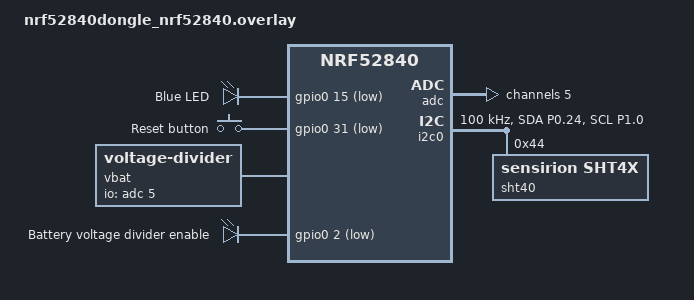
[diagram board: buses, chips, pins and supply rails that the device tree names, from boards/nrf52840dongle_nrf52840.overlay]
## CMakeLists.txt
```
# SPDX-License-Identifier: MIT

cmake_minimum_required(VERSION 3.20.0)
find_package(Zephyr REQUIRED HINTS $ENV{ZEPHYR_BASE})
project(frostbee_uf2)

target_sources(app PRIVATE src/main.c)
```

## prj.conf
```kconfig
# Frostbee UF2 Battlefield App
# Goal: stable sensor/config/button behavior with USB logs + incremental Zigbee SED hardening.
#
# Build:
#   west build -b nrf52840dongle/nrf52840 app_uf2 --build-dir app_uf2/build
#
# NOTE:
# This app is meant for the restored Adafruit UF2 bootloader flow.
# 0x26000 is the common nRF52 UF2 application start address.
# If your bootloader uses a different app address, adjust this offset.

# Core drivers
CONFIG_I2C=y
CONFIG_PINCTRL=y
CONFIG_SENSOR=y
CONFIG_GPIO=y
CONFIG_ADC=y

# Logging / console over USB CDC ACM
CONFIG_LOG=y
CONFIG_LOG_DEFAULT_LEVEL=3
CONFIG_SERIAL=y
CONFIG_CONSOLE=y
CONFIG_UART_CONSOLE=y
CONFIG_USB_DEVICE_STACK=y
CONFIG_USB_CDC_ACM=y
CONFIG_UART_LINE_CTRL=y
CONFIG_KERNEL_LOG_LEVEL_WRN=y
CONFIG_USB_DRIVER_LOG_LEVEL_ERR=y
CONFIG_NRF_USBD_COMMON_LOG_LEVEL_ERR=y
CONFIG_USBC_LOG_LEVEL_ERR=y

# Keep stack conservative for heavy logging, Zigbee, and sensor work
CONFIG_MAIN_STACK_SIZE=4096
CONFIG_SYSTEM_WORKQUEUE_STACK_SIZE=2048
CONFIG_HEAP_MEM_POOL_SIZE=4096

# Zigbee SED core (Phase 2A, no OTA)
CONFIG_ZIGBEE_ADD_ON=y
CONFIG_ZIGBEE_APP_UTILS=y
CONFIG_ZIGBEE_ROLE_END_DEVICE=y
CONFIG_ZIGBEE_CHANNEL_SELECTION_MODE_MULTI=y

# Keep IPv6/UDP stack disabled, Zigbee only
CONFIG_NET_IPV6=n
CONFIG_NET_UDP=n

# Explicit no-OTA profile in UF2 battlefield app
CONFIG_BOOTLOADER_MCUBOOT=n
CONFIG_ZIGBEE_FOTA=n

# UF2-bootloader application region (common Adafruit nRF52 layout)
CONFIG_BUILD_OUTPUT_UF2=y
CONFIG_FLASH_LOAD_OFFSET=0x26000
```

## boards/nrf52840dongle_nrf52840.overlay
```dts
/ {
	leds {
		compatible = "gpio-leds";
		led0_blue: led_0 {
			gpios = <&gpio0 15 GPIO_ACTIVE_LOW>;
			label = "Blue LED";
		};
	};

	buttons {
		compatible = "gpio-keys";
		reset_button: button_0 {
			gpios = <&gpio0 31 (GPIO_PULL_UP | GPIO_ACTIVE_LOW)>;
			label = "Reset button";
		};
	};

	aliases {
		led0 = &led0_blue;
		sw0 = &reset_button;
	};

	/* Battery voltage divider control */
	vbat {
		compatible = "voltage-divider";
		io-channels = <&adc 5>;  /* P0.29 = AIN5 */
		output-ohms = <10000>;   /* R2 = 10k */
		full-ohms = <20000>;     /* R1 + R2 = 20k */
	};

	vbat_enable {
		compatible = "gpio-leds";
		vbat_en: vbat_enable_pin {
			gpios = <&gpio0 2 GPIO_ACTIVE_LOW>;  /* P0.02, active LOW = GND */
			label = "Battery voltage divider enable";
		};
	};
};

/* ADC for battery voltage measurement on P0.29 (AIN5) */
&adc {
	status = "okay";
	#address-cells = <1>;
	#size-cells = <0>;

	channel@5 {
		reg = <5>;
		zephyr,gain = "ADC_GAIN_1_6";
		zephyr,reference = "ADC_REF_INTERNAL";
		zephyr,acquisition-time = <ADC_ACQ_TIME_DEFAULT>;
		zephyr,input-positive = <NRF_SAADC_AIN5>;
		zephyr,resolution = <12>;
	};
};

/* I2C bus for SHT40: SDA = P0.24, SCL = P1.00 */
&i2c0 {
	compatible = "nordic,nrf-twim";
	status = "okay";
	pinctrl-0 = <&i2c0_default>;
	pinctrl-1 = <&i2c0_sleep>;
	pinctrl-names = "default", "sleep";
	clock-frequency = <I2C_BITRATE_STANDARD>;

	sht40: sht4x@44 {
		compatible = "sensirion,sht4x";
		reg = <0x44>;
		repeatability = <2>;
	};
};

&pinctrl {
	i2c0_default: i2c0_default {
		group1 {
			psels = <NRF_PSEL(TWIM_SDA, 0, 24)>,
				<NRF_PSEL(TWIM_SCL, 1, 0)>;
		};
	};

	i2c0_sleep: i2c0_sleep {
		group1 {
			psels = <NRF_PSEL(TWIM_SDA, 0, 24)>,
				<NRF_PSEL(TWIM_SCL, 1, 0)>;
			low-power-enable;
		};
	};
};
```

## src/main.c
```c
/*
 * Frostbee UF2 battlefield app
 *
 * Purpose:
 * - Keep UF2 fast iteration workflow
 * - Add minimal Zigbee SED core (no OTA)
 * - Keep USB logs explicit for join/rejoin/sleep/reporting behavior
 *
 * SPDX-License-Identifier: MIT
 */

#include <stdlib.h>
#include <errno.h>
#include <zephyr/device.h>
#include <zephyr/drivers/adc.h>
#include <zephyr/drivers/gpio.h>
#include <zephyr/drivers/sensor.h>
#include <zephyr/drivers/uart.h>
#include <zephyr/kernel.h>
#include <zephyr/logging/log.h>
#include <zephyr/usb/usb_device.h>

#include <zboss_api.h>
#include <zboss_api_addons.h>
#include <zigbee/zigbee_app_utils.h>
#include <zigbee/zigbee_error_handler.h>
#include <zb_nrf_platform.h>

LOG_MODULE_REGISTER(frostbee_uf2, LOG_LEVEL_DBG);

/* Zigbee + reporting */
#define FROSTBEE_ENDPOINT      1
#define REPORT_INTERVAL_S      15
#define SED_KEEPALIVE_MS       3000

/* Button timing */
#define BUTTON_DEBOUNCE_MS         100
#define BUTTON_SHORT_PRESS_MAX_MS  1000
#define BUTTON_FACTORY_RESET_MS    5000

/* ADC configuration for P0.29 (AIN5) */
#define ADC_NODE        DT_NODELABEL(adc)
#define ADC_CHANNEL_ID  5
#define ADC_RESOLUTION  12
#define ADC_VREF_MV     600
#define ADC_GAIN_FACTOR 6
#define VDIV_FACTOR     2

/* Temperature measurement range: -40.00 C to +125.00 C (SHT40 spec) */
#define FROSTBEE_TEMP_MIN_VALUE  (-4000)
#define FROSTBEE_TEMP_MAX_VALUE  12500

/* Humidity measurement range: 0.00% to 100.00% */
#define FROSTBEE_HUM_MIN_VALUE   0
#define FROSTBEE_HUM_MAX_VALUE   10000

#define RESET_BUTTON_NODE DT_ALIAS(sw0)

/* Reportable attributes: temperature + humidity + battery voltage + battery percentage */
#define FROSTBEE_REPORT_ATTR_COUNT     \
	(ZB_ZCL_TEMP_MEASUREMENT_REPORT_ATTR_COUNT + \
	 ZB_ZCL_REL_HUMIDITY_MEASUREMENT_REPORT_ATTR_COUNT + \
	 2)

struct zb_device_ctx {
	zb_zcl_basic_attrs_ext_t basic_attr;
	zb_zcl_identify_attrs_t identify_attr;
	zb_uint8_t battery_voltage;
	zb_uint8_t battery_percentage;
	zb_int16_t temp_measure_value;
	zb_int16_t temp_min_value;
	zb_int16_t temp_max_value;
	zb_uint16_t temp_tolerance;
	zb_uint16_t hum_measure_value;
	zb_uint16_t hum_min_value;
	zb_uint16_t hum_max_value;
};

static struct zb_device_ctx dev_ctx;

static const struct device *sht = DEVICE_DT_GET(DT_NODELABEL(sht40));
static const struct device *adc_dev = DEVICE_DT_GET(ADC_NODE);
static const struct gpio_dt_spec vbat_enable = GPIO_DT_SPEC_GET(DT_NODELABEL(vbat_en), gpios);

#if DT_NODE_EXISTS(RESET_BUTTON_NODE)
static const struct gpio_dt_spec reset_button = GPIO_DT_SPEC_GET(RESET_BUTTON_NODE, gpios);
static struct gpio_callback button_cb_data;
static struct k_work_delayable debounce_work;
static struct k_work_delayable long_press_work;
static int64_t button_press_time;
static bool button_pressed_state;
static atomic_t long_press_handled;
#endif

static K_MUTEX_DEFINE(sensor_mutex);
static bool zigbee_network_ready;
static uint32_t forced_reports_requested;
static uint32_t forced_reports_attempted;
static uint32_t forced_reports_completed;
static uint32_t forced_reports_failed;

static struct adc_channel_cfg adc_cfg = {
	.gain = ADC_GAIN_1_6,
	.reference = ADC_REF_INTERNAL,
	.acquisition_time = ADC_ACQ_TIME_DEFAULT,
	.channel_id = ADC_CHANNEL_ID,
	.input_positive = SAADC_CH_PSELP_PSELP_AnalogInput5,
};

static int16_t adc_sample_buffer;
static struct adc_sequence adc_seq = {
	.channels = BIT(ADC_CHANNEL_ID),
	.buffer = &adc_sample_buffer,
	.buffer_size = sizeof(adc_sample_buffer),
	.resolution = ADC_RESOLUTION,
};

ZB_ZCL_DECLARE_BASIC_ATTRIB_LIST_EXT(
	basic_attr_list,
	&dev_ctx.basic_attr.zcl_version,
	&dev_ctx.basic_attr.app_version,
	&dev_ctx.basic_attr.stack_version,
	&dev_ctx.basic_attr.hw_version,
	dev_ctx.basic_attr.mf_name,
	dev_ctx.basic_attr.model_id,
	dev_ctx.basic_attr.date_code,
	&dev_ctx.basic_attr.power_source,
	dev_ctx.basic_attr.location_id,
	&dev_ctx.basic_attr.ph_env,
	dev_ctx.basic_attr.sw_ver);

ZB_ZCL_DECLARE_IDENTIFY_CLIENT_ATTRIB_LIST(identify_client_attr_list);
ZB_ZCL_DECLARE_IDENTIFY_SERVER_ATTRIB_LIST(identify_server_attr_list, &dev_ctx.identify_attr.identify_time);

static zb_zcl_attr_t power_config_attr_list[] = {
	{
		ZB_ZCL_ATTR_POWER_CONFIG_BATTERY_VOLTAGE_ID,
		ZB_ZCL_ATTR_TYPE_U8,
		ZB_ZCL_ATTR_ACCESS_READ_ONLY | ZB_ZCL_ATTR_ACCESS_REPORTING,
		ZB_ZCL_NON_MANUFACTURER_SPECIFIC,
		(void *)&dev_ctx.battery_voltage
	},
	{
		ZB_ZCL_ATTR_POWER_CONFIG_BATTERY_PERCENTAGE_REMAINING_ID,
		ZB_ZCL_ATTR_TYPE_U8,
		ZB_ZCL_ATTR_ACCESS_READ_ONLY | ZB_ZCL_ATTR_ACCESS_REPORTING,
		ZB_ZCL_NON_MANUFACTURER_SPECIFIC,
		(void *)&dev_ctx.battery_percentage
	},
	{
		ZB_ZCL_NULL_ID,
		0,
		0,
		ZB_ZCL_NON_MANUFACTURER_SPECIFIC,
		NULL
	}
};

ZB_ZCL_DECLARE_TEMP_MEASUREMENT_ATTRIB_LIST(
	temp_measurement_attr_list,
	&dev_ctx.temp_measure_value,
	&dev_ctx.temp_min_value,
	&dev_ctx.temp_max_value,
	&dev_ctx.temp_tolerance);

ZB_ZCL_DECLARE_REL_HUMIDITY_MEASUREMENT_ATTRIB_LIST(
	humidity_attr_list,
	&dev_ctx.hum_measure_value,
	&dev_ctx.hum_min_value,
	&dev_ctx.hum_max_value);

static zb_zcl_cluster_desc_t frostbee_clusters[] = {
	ZB_ZCL_CLUSTER_DESC(
		ZB_ZCL_CLUSTER_ID_BASIC,
		ZB_ZCL_ARRAY_SIZE(basic_attr_list, zb_zcl_attr_t),
		basic_attr_list,
		ZB_ZCL_CLUSTER_SERVER_ROLE,
		ZB_ZCL_MANUF_CODE_INVALID),
	ZB_ZCL_CLUSTER_DESC(
		ZB_ZCL_CLUSTER_ID_IDENTIFY,
		ZB_ZCL_ARRAY_SIZE(identify_server_attr_list, zb_zcl_attr_t),
		identify_server_attr_list,
		ZB_ZCL_CLUSTER_SERVER_ROLE,
		ZB_ZCL_MANUF_CODE_INVALID),
	ZB_ZCL_CLUSTER_DESC(
		ZB_ZCL_CLUSTER_ID_POWER_CONFIG,
		ZB_ZCL_ARRAY_SIZE(power_config_attr_list, zb_zcl_attr_t),
		power_config_attr_list,
		ZB_ZCL_CLUSTER_SERVER_ROLE,
		ZB_ZCL_MANUF_CODE_INVALID),
	ZB_ZCL_CLUSTER_DESC(
		ZB_ZCL_CLUSTER_ID_TEMP_MEASUREMENT,
		ZB_ZCL_ARRAY_SIZE(temp_measurement_attr_list, zb_zcl_attr_t),
		temp_measurement_attr_list,
		ZB_ZCL_CLUSTER_SERVER_ROLE,
		ZB_ZCL_MANUF_CODE_INVALID),
	ZB_ZCL_CLUSTER_DESC(
		ZB_ZCL_CLUSTER_ID_REL_HUMIDITY_MEASUREMENT,
		ZB_ZCL_ARRAY_SIZE(humidity_attr_list, zb_zcl_attr_t),
		humidity_attr_list,
		ZB_ZCL_CLUSTER_SERVER_ROLE,
		ZB_ZCL_MANUF_CODE_INVALID),
	ZB_ZCL_CLUSTER_DESC(
		ZB_ZCL_CLUSTER_ID_IDENTIFY,
		ZB_ZCL_ARRAY_SIZE(identify_client_attr_list, zb_zcl_attr_t),
		identify_client_attr_list,
		ZB_ZCL_CLUSTER_CLIENT_ROLE,
		ZB_ZCL_MANUF_CODE_INVALID),
};

ZB_DECLARE_SIMPLE_DESC(5, 1);
ZB_AF_SIMPLE_DESC_TYPE(5, 1) simple_desc_frostbee_ep = {
	FROSTBEE_ENDPOINT,
	ZB_AF_HA_PROFILE_ID,
	ZB_HA_TEMPERATURE_SENSOR_DEVICE_ID,
	0,
	0,
	5,
	1,
	{
		ZB_ZCL_CLUSTER_ID_BASIC,
		ZB_ZCL_CLUSTER_ID_IDENTIFY,
		ZB_ZCL_CLUSTER_ID_POWER_CONFIG,
		ZB_ZCL_CLUSTER_ID_TEMP_MEASUREMENT,
		ZB_ZCL_CLUSTER_ID_REL_HUMIDITY_MEASUREMENT,
		ZB_ZCL_CLUSTER_ID_IDENTIFY,
	}
};

ZBOSS_DEVICE_DECLARE_REPORTING_CTX(reporting_info_frostbee, FROSTBEE_REPORT_ATTR_COUNT);
ZB_AF_DECLARE_ENDPOINT_DESC(
	frostbee_ep,
	FROSTBEE_ENDPOINT,
	ZB_AF_HA_PROFILE_ID,
	0,
	NULL,
	ZB_ZCL_ARRAY_SIZE(frostbee_clusters, zb_zcl_cluster_desc_t),
	frostbee_clusters,
	(zb_af_simple_desc_1_1_t *)&simple_desc_frostbee_ep,
	FROSTBEE_REPORT_ATTR_COUNT,
	reporting_info_frostbee,
	0,
	NULL);

ZBOSS_DECLARE_DEVICE_CTX_1_EP(frostbee_ctx, frostbee_ep);

static int compare_int16(const void *a, const void *b)
{
	return (*(int16_t *)a - *(int16_t *)b);
}

static void log_fixed2(const char *label, int32_t value)
{
	int32_t abs_value = value < 0 ? -value : value;
	LOG_INF("%s: %s%d.%02d", label, value < 0 ? "-" : "", abs_value / 100, abs_value % 100);
}

static void clusters_attr_init(void)
{
	dev_ctx.basic_attr.zcl_version = ZB_ZCL_VERSION;
	dev_ctx.basic_attr.app_version = 1;
	dev_ctx.basic_attr.stack_version = 1;
	dev_ctx.basic_attr.hw_version = 1;
	ZB_ZCL_SET_STRING_VAL(dev_ctx.basic_attr.mf_name, "Frostbee", 8);
	ZB_ZCL_SET_STRING_VAL(dev_ctx.basic_attr.model_id, "FBE_UF2", 7);
	ZB_ZCL_SET_STRING_VAL(dev_ctx.basic_attr.date_code, "20260304", 8);
	ZB_ZCL_SET_STRING_VAL(dev_ctx.basic_attr.sw_ver, "uf2-zb0", 7);
	ZB_ZCL_SET_STRING_VAL(dev_ctx.basic_attr.location_id, "", 0);
	dev_ctx.basic_attr.power_source = ZB_ZCL_BASIC_POWER_SOURCE_BATTERY;
	dev_ctx.basic_attr.ph_env = ZB_ZCL_BASIC_ENV_UNSPECIFIED;

	dev_ctx.identify_attr.identify_time = ZB_ZCL_IDENTIFY_IDENTIFY_TIME_DEFAULT_VALUE;

	dev_ctx.battery_voltage = 45;
	dev_ctx.battery_percentage = 200;
	dev_ctx.temp_measure_value = ZB_ZCL_ATTR_TEMP_MEASUREMENT_VALUE_UNKNOWN;
	dev_ctx.temp_min_value = FROSTBEE_TEMP_MIN_VALUE;
	dev_ctx.temp_max_value = FROSTBEE_TEMP_MAX_VALUE;
	dev_ctx.temp_tolerance = 20;
	dev_ctx.hum_measure_value = ZB_ZCL_ATTR_REL_HUMIDITY_MEASUREMENT_VALUE_UNKNOWN;
	dev_ctx.hum_min_value = FROSTBEE_HUM_MIN_VALUE;
	dev_ctx.hum_max_value = FROSTBEE_HUM_MAX_VALUE;
}

static int read_sensor_once(zb_int16_t *temp_centi, zb_uint16_t *hum_centi)
{
	struct sensor_value temp;
	struct sensor_value hum;
	int ret;
	int64_t temp_micro;
	int64_t hum_micro;

	if (!device_is_ready(sht)) {
		return -ENODEV;
	}

	ret = sensor_sample_fetch(sht);
	if (ret < 0) {
		return ret;
	}

	ret = sensor_channel_get(sht, SENSOR_CHAN_AMBIENT_TEMP, &temp);
	if (ret < 0) {
		return ret;
	}

	ret = sensor_channel_get(sht, SENSOR_CHAN_HUMIDITY, &hum);
	if (ret < 0) {
		return ret;
	}

	temp_micro = (int64_t)temp.val1 * 1000000LL + temp.val2;
	hum_micro = (int64_t)hum.val1 * 1000000LL + hum.val2;
	*temp_centi = (zb_int16_t)(temp_micro / 10000);
	*hum_centi = (zb_uint16_t)(hum_micro / 10000);

	log_fixed2("Temperature [C]", *temp_centi);
	log_fixed2("Humidity [%]", *hum_centi);
	return 0;
}

static int read_battery_once(zb_uint8_t *battery_zcl, zb_uint8_t *battery_pct_zcl)
{
	int ret;
	int16_t samples[5];
	int32_t adc_mv;
	int32_t battery_mv;
	int32_t percentage_raw;

	if (!device_is_ready(adc_dev)) {
		return -ENODEV;
	}

	ret = gpio_pin_configure_dt(&vbat_enable, GPIO_OUTPUT_ACTIVE);
	if (ret < 0) {
		return ret;
	}

	k_msleep(2);

	for (int i = 0; i < 5; i++) {
		ret = adc_read(adc_dev, &adc_seq);
		if (ret < 0) {
			gpio_pin_configure_dt(&vbat_enable, GPIO_INPUT);
			return ret;
		}

		samples[i] = adc_sample_buffer;
		if (i < 4) {
			k_usleep(500);
		}
	}

	gpio_pin_configure_dt(&vbat_enable, GPIO_INPUT);

	qsort(samples, 5, sizeof(int16_t), compare_int16);

	adc_mv = ((int32_t)(samples[1] + samples[2] + samples[3]) / 3);
	adc_mv = (adc_mv * ADC_VREF_MV * ADC_GAIN_FACTOR) / 4095;
	battery_mv = adc_mv * VDIV_FACTOR;
	*battery_zcl = (zb_uint8_t)((battery_mv + 50) / 100);

	percentage_raw = ((battery_mv - 3000) * 200) / 1500;
	if (percentage_raw < 0) {
		percentage_raw = 0;
	}
	if (percentage_raw > 200) {
		percentage_raw = 200;
	}
	*battery_pct_zcl = (zb_uint8_t)percentage_raw;

	LOG_INF("Battery: %d mV (ZCL=%u), %u%% (ZCL=%u)",
		battery_mv, *battery_zcl, *battery_pct_zcl / 2, *battery_pct_zcl);

	return 0;
}

static void measurement_update(zb_bool_t force_report)
{
	zb_int16_t temp_centi;
	zb_uint16_t hum_centi;
	zb_uint8_t battery_zcl;
	zb_uint8_t battery_pct_zcl;
	int ret;

	if (force_report) {
		forced_reports_attempted++;
	}

	k_mutex_lock(&sensor_mutex, K_FOREVER);

	ret = read_sensor_once(&temp_centi, &hum_centi);
	if (ret < 0) {
		LOG_ERR("Sensor read failed: %d", ret);
		if (force_report) {
			forced_reports_failed++;
		}
		k_mutex_unlock(&sensor_mutex);
		return;
	}

	ret = read_battery_once(&battery_zcl, &battery_pct_zcl);
	if (ret < 0) {
		LOG_ERR("Battery read failed: %d", ret);
		if (force_report) {
			forced_reports_failed++;
		}
		k_mutex_unlock(&sensor_mutex);
		return;
	}

	dev_ctx.temp_measure_value = temp_centi;
	dev_ctx.hum_measure_value = hum_centi;
	dev_ctx.battery_voltage = battery_zcl;
	dev_ctx.battery_percentage = battery_pct_zcl;

	ZB_ZCL_SET_ATTRIBUTE(
		FROSTBEE_ENDPOINT,
		ZB_ZCL_CLUSTER_ID_TEMP_MEASUREMENT,
		ZB_ZCL_CLUSTER_SERVER_ROLE,
		ZB_ZCL_ATTR_TEMP_MEASUREMENT_VALUE_ID,
		(zb_uint8_t *)&dev_ctx.temp_measure_value,
		force_report);

	ZB_ZCL_SET_ATTRIBUTE(
		FROSTBEE_ENDPOINT,
		ZB_ZCL_CLUSTER_ID_REL_HUMIDITY_MEASUREMENT,
		ZB_ZCL_CLUSTER_SERVER_ROLE,
		ZB_ZCL_ATTR_REL_HUMIDITY_MEASUREMENT_VALUE_ID,
		(zb_uint8_t *)&dev_ctx.hum_measure_value,
		force_report);

	ZB_ZCL_SET_ATTRIBUTE(
		FROSTBEE_ENDPOINT,
		ZB_ZCL_CLUSTER_ID_POWER_CONFIG,
		ZB_ZCL_CLUSTER_SERVER_ROLE,
		ZB_ZCL_ATTR_POWER_CONFIG_BATTERY_VOLTAGE_ID,
		(zb_uint8_t *)&dev_ctx.battery_voltage,
		force_report);

	ZB_ZCL_SET_ATTRIBUTE(
		FROSTBEE_ENDPOINT,
		ZB_ZCL_CLUSTER_ID_POWER_CONFIG,
		ZB_ZCL_CLUSTER_SERVER_ROLE,
		ZB_ZCL_ATTR_POWER_CONFIG_BATTERY_PERCENTAGE_REMAINING_ID,
		(zb_uint8_t *)&dev_ctx.battery_percentage,
		force_report);

	if (force_report) {
		forced_reports_completed++;
		LOG_INF("Forced report counters: requested=%u attempted=%u completed=%u failed=%u",
			forced_reports_requested,
			forced_reports_attempted,
			forced_reports_completed,
			forced_reports_failed);
	}

	k_mutex_unlock(&sensor_mutex);
}

static void measurement_now_cb(zb_uint8_t param)
{
	ARG_UNUSED(param);
	measurement_update(ZB_TRUE);
}

static void measurement_periodic(zb_bufid_t bufid)
{
	ARG_UNUSED(bufid);
	measurement_update(ZB_FALSE);
	ZB_SCHEDULE_APP_ALARM(measurement_periodic, 0,
			      (zb_time_t)REPORT_INTERVAL_S *
			      ZB_MILLISECONDS_TO_BEACON_INTERVAL(1000));
}

#if DT_NODE_EXISTS(RESET_BUTTON_NODE)
static void long_press_handler(struct k_work *work)
{
	ARG_UNUSED(work);

	if (gpio_pin_get_dt(&reset_button) == 1) {
		atomic_set(&long_press_handled, 1);
		LOG_WRN("Button held >= 5s. Factory reset disabled in UF2 Zigbee app.");
	}
}

static void debounce_handler(struct k_work *work)
{
	int pressed;

	ARG_UNUSED(work);
	pressed = gpio_pin_get_dt(&reset_button);

	if (pressed == button_pressed_state) {
		return;
	}
	button_pressed_state = pressed;

	if (pressed) {
		button_press_time = k_uptime_get();
		atomic_set(&long_press_handled, 0);
		k_work_schedule(&long_press_work, K_MSEC(BUTTON_FACTORY_RESET_MS));
		LOG_INF("Button pressed");
		return;
	}

	k_work_cancel_delayable(&long_press_work);

	if (atomic_get(&long_press_handled)) {
		atomic_set(&long_press_handled, 0);
		LOG_INF("Button released after long press");
		return;
	}

	if ((k_uptime_get() - button_press_time) < BUTTON_SHORT_PRESS_MAX_MS) {
		if (zigbee_network_ready) {
			LOG_INF("Short press: forced report");
			forced_reports_requested++;
			ZB_SCHEDULE_APP_CALLBACK(measurement_now_cb, 0);
		} else {
			LOG_INF("Short press: ignored (not joined yet)");
		}
	} else {
		LOG_INF("Button released (no action)");
	}
}

static void button_callback(const struct device *dev, struct gpio_callback *cb, uint32_t pins)
{
	ARG_UNUSED(dev);
	ARG_UNUSED(cb);
	ARG_UNUSED(pins);

	k_work_reschedule(&debounce_work, K_MSEC(BUTTON_DEBOUNCE_MS));
}

static int button_init(void)
{
	int ret;

	if (!gpio_is_ready_dt(&reset_button)) {
		return -ENODEV;
	}

	ret = gpio_pin_configure_dt(&reset_button, GPIO_INPUT);
	if (ret < 0) {
		return ret;
	}

	ret = gpio_pin_interrupt_configure_dt(&reset_button, GPIO_INT_EDGE_BOTH);
	if (ret < 0) {
		return ret;
	}

	gpio_init_callback(&button_cb_data, button_callback, BIT(reset_button.pin));
	gpio_add_callback(reset_button.port, &button_cb_data);

	k_work_init_delayable(&debounce_work, debounce_handler);
	k_work_init_delayable(&long_press_work, long_press_handler);

	button_pressed_state = gpio_pin_get_dt(&reset_button);
	return 0;
}
#endif

static void try_enable_usb_logs(void)
{
	int ret;
	const struct device *cdc_dev;
	uint32_t dtr = 0U;
	int tries = 0;

	ret = usb_enable(NULL);
	if (ret < 0 && ret != -EALREADY) {
		LOG_WRN("usb_enable failed: %d", ret);
		return;
	}

	cdc_dev = DEVICE_DT_GET(DT_CHOSEN(zephyr_console));
	if (!device_is_ready(cdc_dev)) {
		return;
	}

	while (tries < 50 && dtr == 0U) {
		uart_line_ctrl_get(cdc_dev, UART_LINE_CTRL_DTR, &dtr);
		k_msleep(100);
		tries++;
	}

	if (dtr) {
		LOG_INF("USB terminal connected (DTR set)");
	}
}

void zboss_signal_handler(zb_bufid_t bufid)
{
	zb_zdo_app_signal_hdr_t *sig_hndler = NULL;
	zb_zdo_app_signal_type_t sig = zb_get_app_signal(bufid, &sig_hndler);
	zb_ret_t status = ZB_GET_APP_SIGNAL_STATUS(bufid);

	switch (sig) {
	case ZB_BDB_SIGNAL_DEVICE_REBOOT:
	case ZB_BDB_SIGNAL_STEERING:
		ZB_ERROR_CHECK(zigbee_default_signal_handler(bufid));
		if (status == RET_OK) {
			zigbee_network_ready = true;
			LOG_INF("Zigbee joined/rejoined (signal=%d), reporting each %ds",
				sig, REPORT_INTERVAL_S);
			ZB_SCHEDULE_APP_ALARM_CANCEL(measurement_periodic, 0);
			measurement_update(ZB_FALSE);
			ZB_SCHEDULE_APP_ALARM(measurement_periodic, 0,
					      (zb_time_t)REPORT_INTERVAL_S *
					      ZB_MILLISECONDS_TO_BEACON_INTERVAL(1000));
		} else {
			LOG_WRN("Zigbee signal %d status=%d", sig, status);
		}
		break;

	case ZB_ZDO_SIGNAL_LEAVE:
		zigbee_network_ready = false;
		LOG_WRN("Zigbee leave signal");
		ZB_ERROR_CHECK(zigbee_default_signal_handler(bufid));
		break;

	default:
		ZB_ERROR_CHECK(zigbee_default_signal_handler(bufid));
		break;
	}

	if (bufid) {
		zb_buf_free(bufid);
	}
}

int main(void)
{
	int ret;

	LOG_INF("Frostbee UF2 Zigbee battlefield boot");

	try_enable_usb_logs();

	if (!device_is_ready(adc_dev)) {
		LOG_ERR("ADC not ready");
		return -ENODEV;
	}

	if (!gpio_is_ready_dt(&vbat_enable)) {
		LOG_ERR("VBAT enable GPIO not ready");
		return -ENODEV;
	}

	ret = gpio_pin_configure_dt(&vbat_enable, GPIO_INPUT);
	if (ret < 0) {
		LOG_ERR("Failed to set VBAT enable pin idle: %d", ret);
		return ret;
	}

	ret = adc_channel_setup(adc_dev, &adc_cfg);
	if (ret < 0) {
		LOG_ERR("ADC channel setup failed: %d", ret);
		return ret;
	}

	if (!device_is_ready(sht)) {
		LOG_ERR("SHT4X not ready");
		return -ENODEV;
	}

#if DT_NODE_EXISTS(RESET_BUTTON_NODE)
	ret = button_init();
	if (ret < 0) {
		LOG_ERR("Button init failed: %d", ret);
	}
#endif

	clusters_attr_init();

	zb_set_ed_timeout(ED_AGING_TIMEOUT_64MIN);
	/* Keepalive follows sample-like value during bring-up to keep interview stable. */
	zb_set_keepalive_timeout(ZB_MILLISECONDS_TO_BEACON_INTERVAL(SED_KEEPALIVE_MS));
	zigbee_configure_sleepy_behavior(true);

	ZB_AF_REGISTER_DEVICE_CTX(&frostbee_ctx);
	zigbee_enable();

	LOG_INF("Zigbee enabled (Z2M focus, %ds reporting)", REPORT_INTERVAL_S);

	while (1) {
		k_sleep(K_SECONDS(60));
	}
}
```
